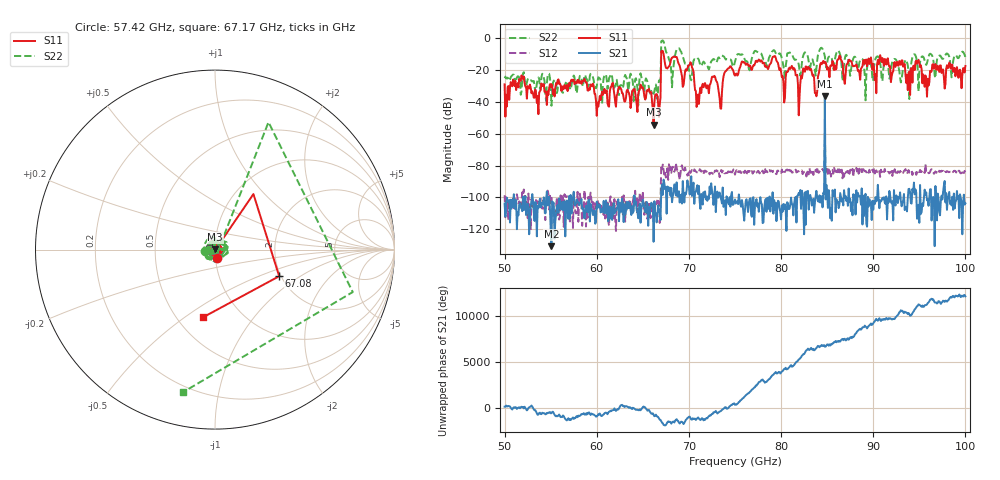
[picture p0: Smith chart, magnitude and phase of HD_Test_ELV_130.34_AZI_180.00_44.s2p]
! 11/25/2026 9:26:13 AM
! C:\ANRITSUVNA\TEMP\TEMP.S2P
! CHANNEL.1
! TR.MEASUREMENT
! RAW.DATA
# HZ S RI R 50.0
! FREQ.HZ  S11RE  S11IM  S21RE  S21IM  S12RE  S12IM  S22RE  S22IM
!; PortSelection: Port_12
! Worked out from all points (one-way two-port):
!   601 points, 50 GHz to 100 GHz, reference 50 ohm
!   highest |S21| = -36.46 dB at 84.75 GHz (marker M1); lowest = -130.5 dB at 55.08 GHz (marker M2)
!   lowest |S11| = -54.4 dB at 66.17 GHz (marker M3), VSWR 1.00, Z = 50.1 + j0.149 ohm
!   |S11| at or under -10 dB: start of sweep to 67 GHz; 67.24 GHz to end of sweep
!   |S22| runs from -42.6 to -1.8 dB; largest |S21 - S12| = 0.015
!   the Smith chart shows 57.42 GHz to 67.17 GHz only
!   S11 on the Smith chart (normalised r, x): 57.42 GHz: 1.02, -0.10; 67.08 GHz: 1.96, -0.68; 67.17 GHz: 0.67, -0.59
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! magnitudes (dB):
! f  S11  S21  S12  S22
! 50 GHz  -29.2  -103.8  -98.5  -25.4
! 55.08 GHz  -29.0  -130.5  -98.9  -42.6
! 57.42 GHz  -26.3  -101.4  -119.0  -25.2
! 58.42 GHz  -27.2  -107.1  -117.7  -29.0
! 60.17 GHz  -43.2  -104.3  -103.4  -24.8
! 61.67 GHz  -28.7  -114.0  -102.4  -24.5
! 66.17 GHz  -54.4  -127.7  -112.0  -35.4
! 66.67 GHz  -41.9  -104.9  -102.3  -32.1
! 67.08 GHz  -8.2  -91.9  -82.2  -1.9
! 67.17 GHz  -8.3  -98.4  -79.4  -1.8
! 70.17 GHz  -15.4  -93.7  -84.6  -25.7
! 70.92 GHz  -40.6  -92.3  -84.4  -13.3
! 75 GHz  -23.7  -101.2  -85.8  -15.0
! 79.25 GHz  -11.8  -101.6  -83.4  -7.9
! 80.25 GHz  -27.6  -104.1  -82.7  -17.6
! 83.42 GHz  -23.8  -103.5  -82.8  -13.6
! 84.75 GHz  -15.1  -36.5  -61.4  -11.8
! 91.67 GHz  -16.7  -103.2  -84.1  -20.4
! 93.75 GHz  -32.8  -100.3  -83.9  -17.2
! 94.83 GHz  -15.0  -108.4  -84.3  -20.3
! 95.83 GHz  -36.9  -101.8  -83.5  -15.9
! 100 GHz  -17.7  -103.7  -84.0  -12.2
